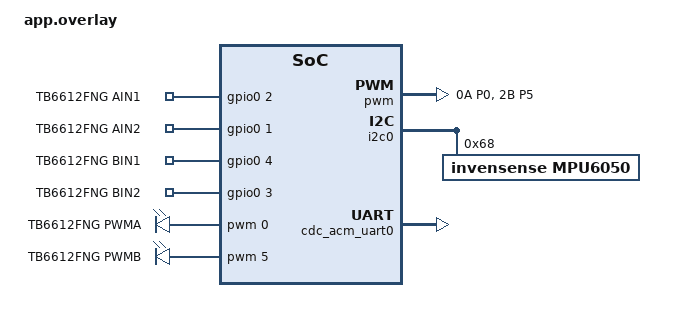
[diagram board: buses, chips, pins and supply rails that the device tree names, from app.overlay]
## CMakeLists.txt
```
# SPDX-License-Identifier: Apache-2.0

cmake_minimum_required(VERSION 3.20.0)

find_package(Zephyr REQUIRED HINTS $ENV{ZEPHYR_BASE})
project(picow_sb)

target_sources(app PRIVATE src/main.c src/mpu6050.c src/pid_controller.c src/motor_control.c)
```

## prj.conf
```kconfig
# CDC specific configurations
CONFIG_USB_DEVICE_STACK=y
CONFIG_USB_DEVICE_PRODUCT="RPi Pico W USB Serial Console"
CONFIG_USB_DEVICE_VID=0001
CONFIG_CONSOLE=y

# UART specific configurations - also required for CDC ACM
CONFIG_SERIAL=y # Enable options for serial drivers
CONFIG_UART_CONSOLE=y # Sets the default for printk and printf to output to the UART serial console
CONFIG_UART_LINE_CTRL=y # This enables the API for apps to control the serial line, such as baud rate, CTS and RTS.

#MPU6050 specific configurations
CONFIG_GPIO=y
CONFIG_I2C=y
CONFIG_SENSOR=y
CONFIG_MPU6050_TRIGGER_NONE=y
CONFIG_CBPRINTF_FP_SUPPORT=y

#Zephyr Logging Module configs
CONFIG_LOG=y
#CONFIG_NET_LOG=y
CONFIG_LOG_DEFAULT_LEVEL=3
CONFIG_LOG_BACKEND_UART=y
CONFIG_LOG_PROCESS_THREAD=y  # Important for automatic log processing

CONFIG_PWM=y
```

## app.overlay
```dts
/ {
    chosen {
        zephyr,console = &cdc_acm_uart0;
    };

    tb6612fng_pins {
        compatible = "gpio-keys";
        
        ain1_pin_label: ain1_pin {
            gpios = <&gpio0 2 GPIO_ACTIVE_HIGH>;
            label = "TB6612FNG AIN1";
        };
        ain2_pin_label: ain2_pin {
            gpios = <&gpio0 1 GPIO_ACTIVE_HIGH>;
            label = "TB6612FNG AIN2";
        };
        bin1_pin_label: bin1_pin {
            gpios = <&gpio0 4 GPIO_ACTIVE_HIGH>;
            label = "TB6612FNG BIN1";
        };
        bin2_pin_label: bin2_pin {
            gpios = <&gpio0 3 GPIO_ACTIVE_HIGH>;
            label = "TB6612FNG BIN2";
        };
    };

    tb6612fng_pwm {
        compatible = "pwm-leds";
        pwm_a_label: pwm_a {
            pwms = <&pwm 0 PWM_MSEC(10) PWM_POLARITY_NORMAL>;
            label = "TB6612FNG PWMA"; 
        };
        pwm_b_label: pwm_b {
            pwms = <&pwm 5 PWM_MSEC(10) PWM_POLARITY_NORMAL>;
            label = "TB6612FNG PWMB";
        };
    };

};

&pwm {
    status = "okay";
    pinctrl-0 = <&pwm_ch05_default>;
    pinctrl-names = "default";
};

&i2c0 {
    status = "okay";
    pinctrl-0 = <&i2c0_mpu>;
    pinctrl-names = "default"; //do no use fancy names, use the predefined names like 'default' or 'sleep', else DT errors
    mpu6050: mpu6050@68 {
        compatible = "invensense,mpu6050";
        reg = <0x68>;
        label = "MPU6050";
        status = "okay";
    };
};

&pinctrl{
    pwm_ch05_default: pwm_ch05_default{
        group1{
            pinmux = <PWM_0A_P0>;
        };
        group2{
            pinmux = <PWM_2B_P5>;
        };
    };

    i2c0_mpu: i2c0_mpu {
        group1 {
			pinmux = <I2C0_SDA_P16>, <I2C0_SCL_P17>;
			input-enable;
			input-schmitt-enable;
		};
    };
};

&zephyr_udc0 {
    cdc_acm_uart0: cdc_acm_uart0 {
        compatible = "zephyr,cdc-acm-uart";
        label = "CDC_ACM_0";
        status = "okay";
    };
};
```

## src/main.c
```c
/* main.c */
#include <zephyr/kernel.h>
#include <zephyr/drivers/gpio.h>
#include <zephyr/usb/usb_device.h>
#include <zephyr/drivers/uart.h>
#include "mpu6050.h"
#include "pid_controller.h"
#include <zephyr/logging/log.h>
//----------Added for Setter and Getter-----
#include <stdlib.h>
#include <stdio.h>
#include <string.h>
//------------------------------------------
LOG_MODULE_REGISTER(main, CONFIG_LOG_DEFAULT_LEVEL);

#define STACK_SIZE 1024
#define DISPLAY_PRIORITY 6

// Thread stack and data for display
K_THREAD_STACK_DEFINE(display_stack, STACK_SIZE);
static struct k_thread display_thread_data;

// Global device pointer
static const struct device *usb_acm;

/*----------Setter Getter Helpers---------*/
#define UART_BUF_SIZE 128
static uint8_t uart_rx_buf[UART_BUF_SIZE];
static int uart_rx_pos = 0;

static void process_command(const char *cmd) {
    LOG_INF("Processing command: %s", cmd);
    
    // Get the angle PID controller
    pid_controller_t *pid = balance_controller_get_angle_pid();
    
    // Command format: "pid kp ki kd"
    if (strncmp(cmd, "pid ", 4) == 0) {
        float kp, ki, kd;
        int items = sscanf(cmd + 4, "%f %f %f", &kp, &ki, &kd);
        
        if (items == 3) {
            pid_set_parameters(pid, kp, ki, kd);
            LOG_INF("PID parameters updated: Kp=%.2f, Ki=%.2f, Kd=%.2f", kp, ki, kd);
            
            char response[64];
            snprintf(response, sizeof(response), 
                    "PID parameters updated: Kp=%.2f, Ki=%.2f, Kd=%.2f\r\n", 
                    kp, ki, kd);
            uart_fifo_fill(usb_acm, (const uint8_t *)response, strlen(response));
        } else {
            char response[] = "Invalid format. Use: pid kp ki kd\r\n";
            uart_fifo_fill(usb_acm, (const uint8_t *)response, strlen(response));
        }
    }
    // Command: "getpid" - get current PID values
    else if (strcmp(cmd, "getpid") == 0) {
        float kp, ki, kd;
        pid_get_parameters(pid, &kp, &ki, &kd);
        
        char response[64];
        snprintf(response, sizeof(response), 
                "Current PID parameters: Kp=%.2f, Ki=%.2f, Kd=%.2f\r\n", 
                kp, ki, kd);
        uart_fifo_fill(usb_acm, (const uint8_t *)response, strlen(response));
    }
    // Command: "help" - show available commands
    else if (strcmp(cmd, "help") == 0) {
        char response[] = "Available commands:\r\n"
                         "  pid kp ki kd - Set PID parameters\r\n"
                         "  getpid       - Get current PID parameters\r\n"
                         "  help         - Show this help\r\n";
        uart_fifo_fill(usb_acm, (const uint8_t *)response, strlen(response));
    }
    else {
        char response[] = "Unknown command. Type 'help' for available commands.\r\n";
        uart_fifo_fill(usb_acm, (const uint8_t *)response, strlen(response));
    }
}

static void uart_cb(const struct device *dev, void *user_data)
{
    uint8_t c;
    
    if (!uart_irq_update(dev)) {
        return;
    }
    
    if (uart_irq_rx_ready(dev)) {
        // Read all available data
        while (uart_fifo_read(dev, &c, 1) == 1) {
            // Process the character
            if (c == '\r' || c == '\n') {
                // End of command, process it
                if (uart_rx_pos > 0) {
                    uart_rx_buf[uart_rx_pos] = '\0';  // Null-terminate
                    process_command((const char *)uart_rx_buf);
                    uart_rx_pos = 0;  // Reset buffer
                }
            } else if (uart_rx_pos < UART_BUF_SIZE - 1) {
                // Add to buffer
                uart_rx_buf[uart_rx_pos++] = c;
            }
        }
    }
}
/*-----------------------------------------------------------------*/

// Display thread function
static void display_thread(void *p1, void *p2, void *p3)
{
    char buffer[256];
    int len;
    struct mpu6050_data mpu6050_data;
    struct k_sem *data_sem = balance_controller_get_data_sem();

    while (1) {
        // Wait for new sensor data
        k_sem_take(data_sem, K_FOREVER);
        
        // Get the latest MPU6050 data
        balance_controller_get_mpu6050_data(&mpu6050_data);
        
        // Format and display the data
        len = snprintf(buffer, sizeof(buffer),
                      "\033[2J\033[H"
                      "Accel (m/s²)  |  Gyro (°/s)\r\n"
                      "--------------|-------------\r\n"
                      "X = %9.4f | X = %9.4f\r\n"
                      "Y = %9.4f | Y = %9.4f\r\n"
                      "Z = %9.4f | Z = %9.4f\r\n",
                      sensor_value_to_double(&mpu6050_data.accel[0]),
                      sensor_value_to_double(&mpu6050_data.gyro[0]),
                      sensor_value_to_double(&mpu6050_data.accel[1]),
                      sensor_value_to_double(&mpu6050_data.gyro[1]),
                      sensor_value_to_double(&mpu6050_data.accel[2]),
                      sensor_value_to_double(&mpu6050_data.gyro[2]));
        
        uart_fifo_fill(usb_acm, (const uint8_t *)buffer, len);
        
        // Update display at a lower rate
        k_sleep(K_MSEC(100));
    }
}

int main(void)
{
    int ret;
    
    // Get USB ACM device
    usb_acm = DEVICE_DT_GET(DT_CHOSEN(zephyr_console));
    if (!device_is_ready(usb_acm)) {
        LOG_ERR("Failed to get USB UART device\n");
        return 0;
    }
    
    // Initialize USB
    if (usb_enable(NULL)) {
        LOG_ERR("Failed to enable USB\n");
        return 0;
    }
    
    // Wait for DTR signal
    uint32_t dtr = 0;
    while (!dtr) {
        uart_line_ctrl_get(usb_acm, UART_LINE_CTRL_DTR, &dtr);
        k_sleep(K_MSEC(100));
    }
    
    /*--------------Setter Getter additions----------*/
    // Set UART callback for command processing
    uart_irq_callback_set(usb_acm, uart_cb);
    uart_irq_rx_enable(usb_acm);
    /*----------------------------------------------*/

    // Initialize balance controller (which initializes MPU6050)
    ret = balance_controller_init();
    if (ret != BALANCE_CONTROLLER_SUCCESS) {
        LOG_ERR("Balance controller initialization failed: %d\n", ret);
        return 0;
    }
    
    // Start balance controller thread
    balance_controller_start();
    
    // Create display thread
    /*
    k_thread_create(&display_thread_data, display_stack,
                    STACK_SIZE, display_thread,
                    NULL, NULL, NULL,
                    DISPLAY_PRIORITY, 0, K_NO_WAIT);
    */
    // Main thread can do other work or just sleep

    // Send welcome message
    char welcome[] = "\r\n===== Self-Balancing Robot Control =====\r\n"
    "Type 'help' for available commands\r\n";
    uart_fifo_fill(usb_acm, (const uint8_t *)welcome, strlen(welcome));

    while (1) {
        k_sleep(K_SECONDS(1));
    }
    
    return 0;
}
```

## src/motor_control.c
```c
/* motor_control.c */
#include "motor_control.h"

LOG_MODULE_REGISTER(motor_control, CONFIG_LOG_DEFAULT_LEVEL);

// Define PWM and GPIO nodes from devicetree
#define PWM_NODE_A DT_NODELABEL(pwm_a_label)
#define PWM_NODE_B DT_NODELABEL(pwm_b_label)
#define AIN1_NODE DT_NODELABEL(ain1_pin_label)
#define AIN2_NODE DT_NODELABEL(ain2_pin_label)
#define BIN1_NODE DT_NODELABEL(bin1_pin_label)
#define BIN2_NODE DT_NODELABEL(bin2_pin_label)

#define PWM_PERIOD DT_PWMS_PERIOD(PWM_NODE_A) // Period in ns
//#define MAX_PULSE (PWM_PERIOD / 2)            // 50% duty cycle as maximum
#define MAX_PULSE (PWM_PERIOD)            // 100% duty cycle as maximum
#define MIN_PULSE (PWM_PERIOD / 10) //20% duty cycle

//#define PWM_NODE DT_NODELABEL(pwm_a_label)
//#define PWM_PERIOD DT_PWMS_PERIOD(PWM_NODE)
//#define MAX_PULSE (PWM_PERIOD / 2) 

// Device specs
static const struct gpio_dt_spec ain_1 = GPIO_DT_SPEC_GET(AIN1_NODE, gpios);
static const struct gpio_dt_spec ain_2 = GPIO_DT_SPEC_GET(AIN2_NODE, gpios);
static const struct gpio_dt_spec bin_1 = GPIO_DT_SPEC_GET(BIN1_NODE, gpios);
static const struct gpio_dt_spec bin_2 = GPIO_DT_SPEC_GET(BIN2_NODE, gpios);
 
static const struct pwm_dt_spec pwm_a = PWM_DT_SPEC_GET(PWM_NODE_A);
static const struct pwm_dt_spec pwm_b = PWM_DT_SPEC_GET(PWM_NODE_B);

int motor_init(void) {
    // Check if devices are ready
    if (!device_is_ready(pwm_a.dev) || !device_is_ready(pwm_b.dev) ||
        !device_is_ready(ain_1.port) || !device_is_ready(ain_2.port) ||
        !device_is_ready(bin_1.port) || !device_is_ready(bin_2.port)) {
        LOG_ERR("Motor devices not ready");
        return -1;
    }

    // Configure GPIO pins
    gpio_pin_configure_dt(&ain_1, GPIO_OUTPUT_INACTIVE);
    gpio_pin_configure_dt(&ain_2, GPIO_OUTPUT_INACTIVE);
    gpio_pin_configure_dt(&bin_1, GPIO_OUTPUT_INACTIVE);
    gpio_pin_configure_dt(&bin_2, GPIO_OUTPUT_INACTIVE);

    // Initialize PWM with zero duty cycle
    pwm_set_dt(&pwm_a, PWM_PERIOD, 0);
    pwm_set_dt(&pwm_b, PWM_PERIOD, 0);

    LOG_INF("Motor control initialized");
    return 0;
}

void motor_set_speed(float speed) {
    // Clamp speed to -100 to +100 range
    if (speed > 100.0f) speed = 100.0f;
    if (speed < -100.0f) speed = -100.0f;
    
    // Calculate PWM pulse based on speed percentage
    uint32_t pwm_pulse = (uint32_t)(fabsf(speed) * MAX_PULSE / 100.0f);

    // After calculating pwm_pulse - to avoid dead zone of motors
    if (pwm_pulse > 0 && pwm_pulse < MIN_PULSE) {
        pwm_pulse = MIN_PULSE;  // Set a minimum effective threshold
    }

    
    if (speed > 0) {
        // Forward direction
        gpio_pin_set_dt(&ain_1, 1);
        gpio_pin_set_dt(&ain_2, 0);
        gpio_pin_set_dt(&bin_1, 1);
        gpio_pin_set_dt(&bin_2, 0);
    } else if (speed < 0) {
        // Backward direction
        gpio_pin_set_dt(&ain_1, 0);
        gpio_pin_set_dt(&ain_2, 1);
        gpio_pin_set_dt(&bin_1, 0);
        gpio_pin_set_dt(&bin_2, 1);
    } else {
        // Stop motors
        gpio_pin_set_dt(&ain_1, 0);
        gpio_pin_set_dt(&ain_2, 0);
        gpio_pin_set_dt(&bin_1, 0);
        gpio_pin_set_dt(&bin_2, 0);
        pwm_pulse = 0;
    }
    
    // Set PWM for both motors
    pwm_set_dt(&pwm_a, PWM_PERIOD, pwm_pulse);
    pwm_set_dt(&pwm_b, PWM_PERIOD, pwm_pulse);
}
```

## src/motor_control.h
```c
/* motor_control.h */
#ifndef MOTOR_CONTROL_H
#define MOTOR_CONTROL_H

#include <zephyr/kernel.h>
#include <zephyr/drivers/gpio.h>
#include <zephyr/drivers/pwm.h>
#include <zephyr/logging/log.h>
#include <math.h>
#include <zephyr/usb/usb_device.h>
#include <zephyr/drivers/uart.h>

// Initialize motor control hardware
int motor_init(void);

// Set motor speed with direction control
// speed: -100 to +100 (negative for backward, positive for forward)
// This is the main function that will be called from the PID controller
void motor_set_speed(float speed);

#endif /* MOTOR_CONTROL_H */
```

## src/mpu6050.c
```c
/*mpu6050.c*/
#include "mpu6050.h"

#define MPU6050_NODE DT_NODELABEL(mpu6050)

static const struct device *mpu6050;

int mpu6050_begin(void){
    int ret;

    mpu6050 = DEVICE_DT_GET(MPU6050_NODE);

    //check if device is ready
    if (!device_is_ready(mpu6050)) {
        //printk("MPU6050 device not found\n");
        return MPU6050_ERR_NOT_FOUND;
    }

    //fetch a single data to verify device working
    ret = sensor_sample_fetch(mpu6050);
    if(ret <0){
        return MPU6050_ERR_INIT;
    }

    return MPU6050_SUCCESS;
}

int mpu6050_read(struct mpu6050_data *data){
    int ret;
    ret = sensor_sample_fetch(mpu6050);
    if(ret < 0) {
        return ret;
    }

    ret = sensor_channel_get(mpu6050, SENSOR_CHAN_ACCEL_XYZ, data-> accel);
    if(ret < 0) {
        return ret;
    }

    ret = sensor_channel_get(mpu6050, SENSOR_CHAN_GYRO_XYZ, data-> gyro);
    if(ret < 0) {
        return ret;
    }

    return 0;
}
```

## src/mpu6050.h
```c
/*mpu6050.h*/
#ifndef MPU6050_H
#define MPU6050_H

#include <zephyr/kernel.h>
#include <zephyr/drivers/i2c.h>
#include <zephyr/drivers/sensor.h>

/*Error Codes specific to MPU6050*/
#define MPU6050_SUCCESS 0
#define MPU6050_ERR_NOT_FOUND -ENODEV //Device not found
#define MPU6050_ERR_INIT -EINVAL //Initialization Error

struct mpu6050_data{
    struct sensor_value accel[3];
    struct sensor_value gyro[3];
};

/*
 * @brief Initialize the MPU6050 sensor
 *
 * @return MPU6050_SUCCESS on success
 * @return MPU6050_ERR_NOT_FOUND if device is not found
 * @return MPU6050_ERR_INIT if initialization fails
 */

//Function prototypes for MPU6050 functionality
int mpu6050_begin(void);
int mpu6050_read(struct mpu6050_data *data);

#endif
```

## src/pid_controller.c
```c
/* pid_controller.c */
#include "pid_controller.h"
#include "mpu6050.h"
#include "motor_control.h"


LOG_MODULE_REGISTER(pid_controller, CONFIG_LOG_DEFAULT_LEVEL);

#define STACK_SIZE 2048
#define CONTROLLER_PRIORITY 5

// Thread stack and data
K_THREAD_STACK_DEFINE(controller_stack, STACK_SIZE);
static struct k_thread controller_thread_data;

// Semaphore for data synchronization
K_SEM_DEFINE(data_sem, 0, 1);

// Sensor data storage
static struct mpu6050_data mpu6050_latest_data;

// PID controllers for balance
static pid_controller_t angle_pid;

// Variable to calculate bias of gyro
static float gyro_bias_x = 0.0f;  // only pitch axis needed

// === GYRO CALIBRATION ===
#define CALIBRATION_SAMPLES 500
static int calibrate_gyro(void) {
    struct mpu6050_data calib_data;
    float sum = 0.0f;

    for (int i = 0; i < CALIBRATION_SAMPLES; i++) {
        if (mpu6050_read(&calib_data) < 0) {
            return -1;
        }

        sum += sensor_value_to_double(&calib_data.gyro[0]); // X-axis (pitch)

        k_sleep(K_MSEC(2));  // 2 ms × 500 ≈ 1 second
    }

    gyro_bias_x = sum / CALIBRATION_SAMPLES;
    LOG_INF("Gyro X bias calibrated: %.5f", gyro_bias_x);
    return 0;
}

// Function to calculate tilt angle from accelerometer and gyroscope data
static float calculate_angle(struct mpu6050_data *data, float dt) {
    // Simple angle calculation from accelerometer data
    // This is a basic implementation - you might want to use a complementary or Kalman filter
    //float accel_x = sensor_value_to_double(&data->accel[0]);
    float accel_y = sensor_value_to_float(&data->accel[1]);
    float accel_z = sensor_value_to_float(&data->accel[2]);
    //float gyro_x = sensor_value_to_double(&data->gyro[0]); //X axis is the pitch axis
    float gyro_x = sensor_value_to_float(&data->gyro[0]) - gyro_bias_x;

    static float filtered_angle = 0;
    
    // Calculate angle in radians and convert to degrees
    float accel_angle = atan2f(accel_y, accel_z) * 57.29578f; // 180/PI = 57.29578
    float gyro_angle = filtered_angle + (gyro_x * dt);
    filtered_angle = (0.98f * gyro_angle) + (0.02f * accel_angle);
    
    return filtered_angle;
}

// Controller thread function
static void controller_thread(void *p1, void *p2, void *p3)
{
    int ret;
    float angle, motor_output;
    int64_t last_time = k_uptime_get();

    while (1) {
        int64_t now = k_uptime_get();
        float dt = (now - last_time) / 1000.0f; // Convert ms to seconds
        last_time = now;

        // Read MPU6050 data
        ret = mpu6050_read(&mpu6050_latest_data);
        if (ret < 0) {
            LOG_ERR("Failed to read MPU6050: %d", ret);
        } else {
            k_sem_give(&data_sem);

            // Calculate tilt angle
            angle = calculate_angle(&mpu6050_latest_data, dt);

            // PID control
            motor_output = pid_update(&angle_pid, angle, dt);

            // Log values to check output
            LOG_INF("Angle: %.2f | Output: %.2f", angle, motor_output);

            // Apply to motors
            if(angle > 15.0f && angle < -15.0f){
                motor_set_speed(0.0f);
            }
            else{
                motor_set_speed(motor_output);
            }
        }

        k_sleep(K_MSEC(10));
    }
}


int balance_controller_init(void)
{
    int ret;
    
    // Initialize MPU6050
    ret = mpu6050_begin();
    if (ret != MPU6050_SUCCESS) {
        LOG_ERR("MPU6050 initialization failed: %d", ret);
        return BALANCE_CONTROLLER_ERROR;
    }
    
    // === GYRO CALIBRATION ===
    ret = calibrate_gyro();
    if (ret < 0) {
        LOG_ERR("Gyro calibration failed");
        return BALANCE_CONTROLLER_ERROR;
    }

    // Initialize motor control
    ret = motor_init();
    if (ret != 0) {
        LOG_ERR("Motor initialization failed: %d", ret);
        return BALANCE_CONTROLLER_ERROR;
    }
    
    // Initialize PID controller
    pid_init(&angle_pid, 15.0f, 0.5f, 0.2f, -100.0f, 100.0f);
    pid_set_setpoint(&angle_pid, 0.0f);  // Target is upright position
    
    return BALANCE_CONTROLLER_SUCCESS;
}

int balance_controller_start(void)
{
    // Create controller thread
    k_thread_create(&controller_thread_data, controller_stack,
                    STACK_SIZE, controller_thread,
                    NULL, NULL, NULL,
                    CONTROLLER_PRIORITY, 0, K_NO_WAIT);
    
    return BALANCE_CONTROLLER_SUCCESS;
}

struct k_sem *balance_controller_get_data_sem(void)
{
    return &data_sem;
}

int balance_controller_get_mpu6050_data(struct mpu6050_data *data)
{
    if (data == NULL) {
        return BALANCE_CONTROLLER_ERROR;
    }
    
    // Copy the latest data
    memcpy(data, &mpu6050_latest_data, sizeof(struct mpu6050_data));
    
    return BALANCE_CONTROLLER_SUCCESS;
}

// PID controller implementation
void pid_init(pid_controller_t *pid, float kp, float ki, float kd, 
              float output_min, float output_max) {
    pid->kp = kp;
    pid->ki = ki;
    pid->kd = kd;
    pid->setpoint = 0.0f;
    pid->integral = 0.0f;
    pid->prev_error = 0.0f;
    pid->output_min = output_min;
    pid->output_max = output_max;
}

float pid_update(pid_controller_t *pid, float measurement, float dt) {
    // Calculate error
    float error = pid->setpoint - measurement;

    // === Deadband to prevent overcorrection for small tilt ===
    const float deadband_threshold = 0.0f;  // in degrees
    if (fabsf(error) < deadband_threshold) {
        return 0.0f;  // No motor output within deadband
    }
    
    // Proportional term
    float p_term = pid->kp * error;
    
    // Integral term with anti-windup
    pid->integral += error * dt;
    float i_term = pid->ki * pid->integral;
    
    // Derivative term
    float derivative = (error - pid->prev_error) / dt;
    float d_term = pid->kd * derivative;
    
    // Calculate total output
    float output = p_term + i_term + d_term;
    
    // Apply output limits
    if (output > pid->output_max) {
        output = pid->output_max;
    } else if (output < pid->output_min) {
        output = pid->output_min;
    }
    
    // Save error for next iteration
    pid->prev_error = error;
    
    return output;
}

void pid_set_setpoint(pid_controller_t *pid, float setpoint) {
    pid->setpoint = setpoint;
}

void pid_reset(pid_controller_t *pid) {
    pid->integral = 0.0f;
    pid->prev_error = 0.0f;
}

/* Setter and Getter function implementations */

void pid_get_parameters(pid_controller_t *pid, float *kp, float *ki, float *kd) {
    if (kp) *kp = pid->kp;
    if (ki) *ki = pid->ki;
    if (kd) *kd = pid->kd;
}

void pid_set_parameters(pid_controller_t *pid, float kp, float ki, float kd) {
    pid->kp = kp;
    pid->ki = ki;
    pid->kd = kd;
    // Reset integral and error terms to avoid using stale values
    pid->integral = 0.0f;
    pid->prev_error = 0.0f;
}

pid_controller_t *balance_controller_get_angle_pid(void) {
    return &angle_pid;
}
```

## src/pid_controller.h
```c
/* pid_controller.h */
#ifndef PID_CONTROLLER_H
#define PID_CONTROLLER_H

#include <zephyr/kernel.h>
#include <zephyr/logging/log.h>
#include <string.h>
#include <math.h>
#include "mpu6050.h"

// Error codes
#define BALANCE_CONTROLLER_SUCCESS 0
#define BALANCE_CONTROLLER_ERROR -1

typedef struct {
    float kp;          // Proportional gain
    float ki;          // Integral gain
    float kd;          // Derivative gain
    float setpoint;    // Desired value
    float integral;    // Accumulated error
    float prev_error;  // Previous error for derivative calculation
    float output_min;  // Minimum output value
    float output_max;  // Maximum output value
} pid_controller_t;

// Initialize PID controller with gains and limits
void pid_init(pid_controller_t *pid, float kp, float ki, float kd, 
              float output_min, float output_max);

// Update PID controller with new measurement and get output
float pid_update(pid_controller_t *pid, float measurement, float dt);

// Set new target value
void pid_set_setpoint(pid_controller_t *pid, float setpoint);

// Reset the integral term
void pid_reset(pid_controller_t *pid);

// Initialize the balance controller
int balance_controller_init(void);

// Start the balance controller thread
int balance_controller_start(void);

// Get the semaphore for synchronizing with new sensor data
struct k_sem *balance_controller_get_data_sem(void);

// Get the latest MPU6050 data
int balance_controller_get_mpu6050_data(struct mpu6050_data *data);

/*-----------------------Setter and Getter Functions-------------------------*/

// Get current PID parameters
void pid_get_parameters(pid_controller_t *pid, float *kp, float *ki, float *kd);

// Set new PID parameters
void pid_set_parameters(pid_controller_t *pid, float kp, float ki, float kd);

// Get access to the angle PID controller
pid_controller_t *balance_controller_get_angle_pid(void);

/*----------------------------------------------------------------------------*/

#endif /* PID_CONTROLLER_H */
```
